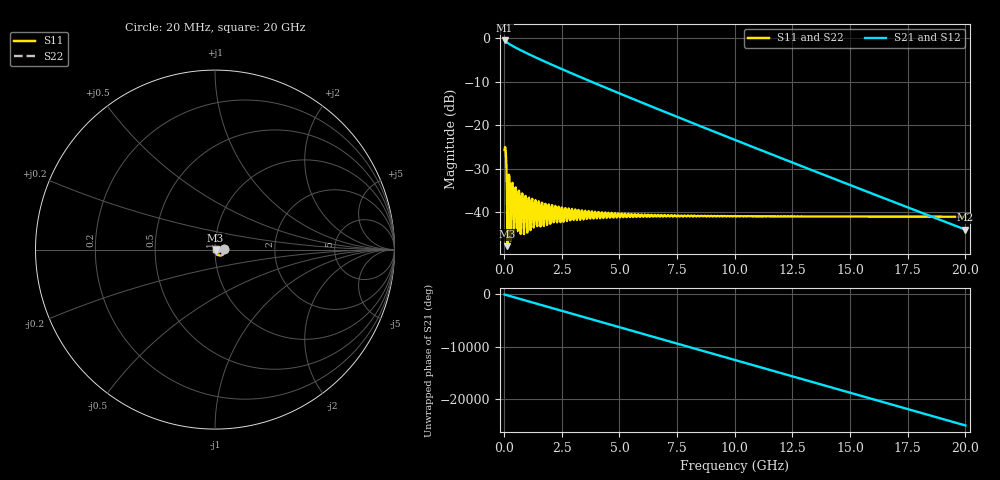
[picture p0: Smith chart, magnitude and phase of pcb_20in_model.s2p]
! Touchstone hspice generated S parameters
! Date: 04-11-02
!  freq  s11  s11  s12  s12  s21  s21  s22  s22
!  real  imag  real  imag  real  imag  real  imag
# HZ S RI R 50
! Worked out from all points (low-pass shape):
!   1000 points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, 20 MHz to 20 GHz, reference 50 ohm
!   highest |S21| = -0.49 dB at 20 MHz (marker M1); lowest = -44.1 dB at 20 GHz (marker M2)
!   |S21| within 3 dB of the highest: start of sweep to 1.006 GHz
!   lowest |S11| = -47.9 dB at 140 MHz (marker M3), VSWR 1.01, Z = 50.3 - j0.268 ohm
!   |S11| at or under -10 dB: start of sweep to end of sweep
!   |S22| runs from -47.9 to -25.0 dB; largest |S21 - S12| = 0
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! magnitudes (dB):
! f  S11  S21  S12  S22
! 20 MHz  -25.7  -0.5  -0.5  -25.7
! 140 MHz  -47.9  -1.0  -1.0  -47.9
! 220 MHz  -31.5  -1.3  -1.3  -31.5
! 280 MHz  -46.6  -1.5  -1.5  -46.6
! 360 MHz  -33.3  -1.7  -1.7  -33.3
! 420 MHz  -45.2  -1.9  -1.9  -45.2
! 500 MHz  -34.3  -2.1  -2.1  -34.3
! 560 MHz  -43.9  -2.3  -2.3  -43.9
! 640 MHz  -35.1  -2.5  -2.5  -35.1
! 720 MHz  -45.1  -2.7  -2.7  -45.1
! 780 MHz  -35.7  -2.9  -2.9  -35.7
! 860 MHz  -45.1  -3.1  -3.1  -45.1
! 1.08 GHz  -36.7  -3.7  -3.7  -36.7
! 1.14 GHz  -44.2  -3.8  -3.8  -44.2
! 1.22 GHz  -37.0  -4.0  -4.0  -37.0
! 1.28 GHz  -43.6  -4.2  -4.2  -43.6
! 3.36 GHz  -39.7  -9.1  -9.1  -39.7
! 6.68 GHz  -40.7  -16.3  -16.3  -40.7
! 10.02 GHz  -41.0  -23.4  -23.4  -41.0
! 13.34 GHz  -41.0  -30.4  -30.4  -41.0
! 16.68 GHz  -41.1  -37.3  -37.3  -41.1
! 20 GHz  -41.1  -44.1  -44.1  -41.1
